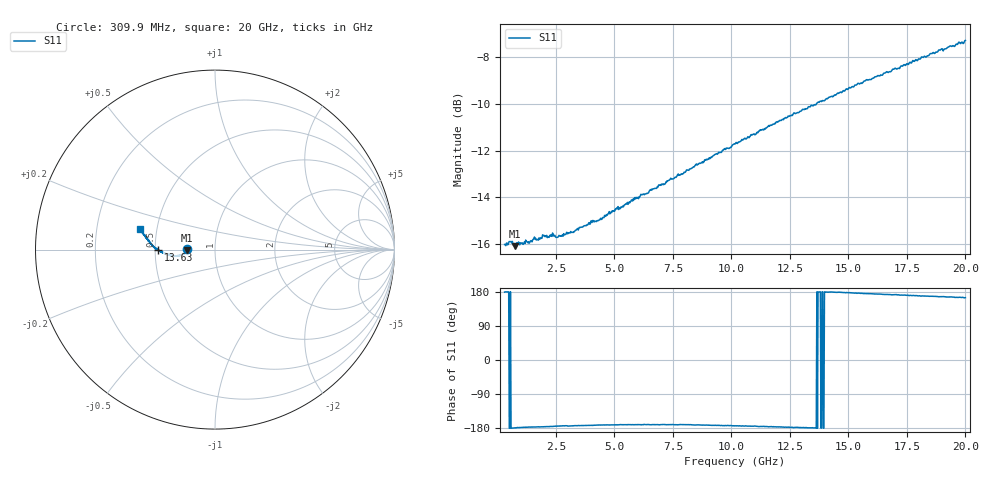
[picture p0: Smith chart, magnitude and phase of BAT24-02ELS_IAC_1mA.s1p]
! Infineon Technologies  Discrete & RF Semiconductors
! BAT24-02ELS
! IAC = 1 mA
! One-Port S-Parameters
# Hz  S  MA  R  50
!f  S11
!Hz  Mag  Ang
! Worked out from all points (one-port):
!   789 points, 309.9 MHz to 20 GHz, reference 50 ohm
!   lowest |S11| = -16.1 dB at 759.6 MHz (marker M1), VSWR 1.37, Z = 36.4 - j0.215 ohm
!   |S11| at or under -10 dB: start of sweep to 13.63 GHz
!   S11 on the Smith chart (normalised r, x): 309.9 MHz: 0.73, +0.00; 13.63 GHz: 0.52, -0.00; 20 GHz: 0.40, +0.11
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3.0985e8  0.1583 179.2
5.59725e8  0.1609 179.9
7.59625e8  0.1569 -179.0
1.4093e9  0.1608 -177.2
2.009e9  0.1654 -175.9
2.383812e9  0.1663 -175.2
2.558725e9  0.1639 -174.5
2.783612e9  0.166 -173.6
3.233388e9  0.1682 -173.8
4.057975e9  0.1773 -172.4
4.30785e9  0.1779 -171.7
5.232388e9  0.1897 -170.7
7.70615e9  0.2234 -171.1
1.015492e10  0.2596 -173.5
1.262869e10  0.3003 -177.9
1.352824e10  0.315 -179.1
1.362819e10  0.316 -180.0
1.462769e10  0.3344 178.8
1.507746e10  0.3423 177.7
1.687656e10  0.3746 172.1
1.707646e10  0.3755 172.0
1.755122e10  0.3841 170.9
1.865068e10  0.4067 168.3
1.925038e10  0.4182 166.2
1.945028e10  0.4211 166.1
1.962519e10  0.4247 165.3
1.982509e10  0.4278 164.9
2e10  0.4325 164.5
